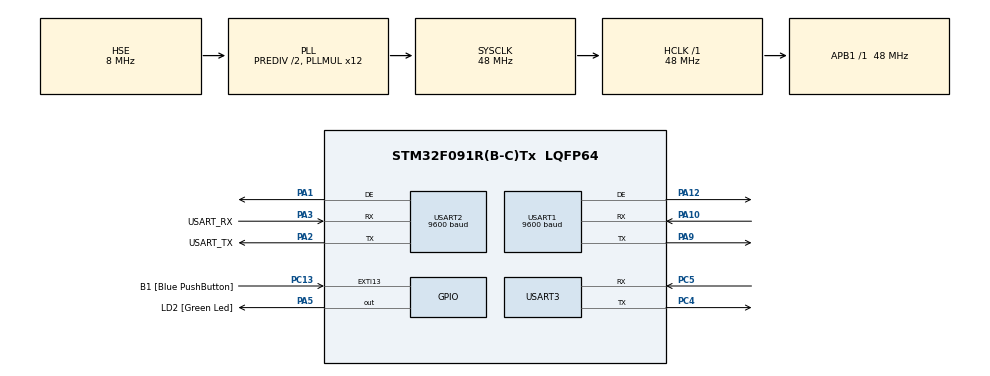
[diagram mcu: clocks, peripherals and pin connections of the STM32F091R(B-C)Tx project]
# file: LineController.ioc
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Dma.Request0=USART2_TX
Dma.Request1=USART2_RX
Dma.Request2=USART1_RX
Dma.Request3=USART1_TX
Dma.Request4=USART3_TX
Dma.USART1_RX.2.Direction=DMA_PERIPH_TO_MEMORY
Dma.USART1_RX.2.Instance=DMA1_Channel1
Dma.USART1_RX.2.MemDataAlignment=DMA_MDATAALIGN_BYTE
Dma.USART1_RX.2.MemInc=DMA_MINC_ENABLE
Dma.USART1_RX.2.Mode=DMA_NORMAL
Dma.USART1_RX.2.PeriphDataAlignment=DMA_PDATAALIGN_BYTE
Dma.USART1_RX.2.PeriphInc=DMA_PINC_DISABLE
Dma.USART1_RX.2.Priority=DMA_PRIORITY_LOW
Dma.USART1_TX.3.Direction=DMA_MEMORY_TO_PERIPH
Dma.USART1_TX.3.Instance=DMA1_Channel2
Dma.USART1_TX.3.MemDataAlignment=DMA_MDATAALIGN_BYTE
Dma.USART1_TX.3.MemInc=DMA_MINC_ENABLE
Dma.USART1_TX.3.Mode=DMA_NORMAL
Dma.USART1_TX.3.PeriphDataAlignment=DMA_PDATAALIGN_BYTE
Dma.USART1_TX.3.PeriphInc=DMA_PINC_DISABLE
Dma.USART1_TX.3.Priority=DMA_PRIORITY_LOW
Dma.USART2_RX.1.Direction=DMA_PERIPH_TO_MEMORY
Dma.USART2_RX.1.Instance=DMA1_Channel3
Dma.USART2_RX.1.MemDataAlignment=DMA_MDATAALIGN_BYTE
Dma.USART2_RX.1.MemInc=DMA_MINC_ENABLE
Dma.USART2_RX.1.Mode=DMA_NORMAL
Dma.USART2_RX.1.PeriphDataAlignment=DMA_PDATAALIGN_BYTE
Dma.USART2_RX.1.PeriphInc=DMA_PINC_DISABLE
Dma.USART2_RX.1.Priority=DMA_PRIORITY_LOW
Dma.USART2_TX.0.Direction=DMA_MEMORY_TO_PERIPH
Dma.USART2_TX.0.Instance=DMA1_Channel4
Dma.USART2_TX.0.MemDataAlignment=DMA_MDATAALIGN_BYTE
Dma.USART2_TX.0.MemInc=DMA_MINC_ENABLE
Dma.USART2_TX.0.Mode=DMA_NORMAL
Dma.USART2_TX.0.PeriphDataAlignment=DMA_PDATAALIGN_BYTE
Dma.USART2_TX.0.PeriphInc=DMA_PINC_DISABLE
Dma.USART2_TX.0.Priority=DMA_PRIORITY_LOW
Dma.USART3_TX.4.Direction=DMA_MEMORY_TO_PERIPH
Dma.USART3_TX.4.Instance=DMA1_Channel7
Dma.USART3_TX.4.MemDataAlignment=DMA_MDATAALIGN_BYTE
Dma.USART3_TX.4.MemInc=DMA_MINC_ENABLE
Dma.USART3_TX.4.Mode=DMA_NORMAL
Dma.USART3_TX.4.PeriphDataAlignment=DMA_PDATAALIGN_BYTE
Dma.USART3_TX.4.PeriphInc=DMA_PINC_DISABLE
Dma.USART3_TX.4.Priority=DMA_PRIORITY_LOW
FREERTOS.INCLUDE_vTaskDelayUntil=1
FREERTOS.Tasks01=defaultTask,0,128,StartDefaultTask,Default
FREERTOS.configTOTAL_HEAP_SIZE=10340
Mcu.Family=STM32F0
Mcu.Name=STM32F091R(B-C)Tx
Mcu.Package=LQFP64
NVIC.DMA1_Ch1_IRQn=true\:3\:0\:false\:false\:true\:true
NVIC.DMA1_Ch2_3_DMA2_Ch1_2_IRQn=true\:3\:0\:false\:false\:true\:true
NVIC.DMA1_Ch4_7_DMA2_Ch3_5_IRQn=true\:3\:0\:false\:false\:true\:true
NVIC.USART1_IRQn=true\:3\:0\:false\:false\:true\:true
NVIC.USART2_IRQn=true\:3\:0\:false\:false\:true\:true
NVIC.USART3_8_IRQn=true\:3\:0\:false\:false\:true\:true
PA1.Mode=Hardware Flow Control (RS485)
PA1.Signal=USART2_DE
PA10.Mode=Asynchronous
PA10.Signal=USART1_RX
PA12.GPIO_PuPd=GPIO_PULLUP
PA12.Mode=Hardware Flow Control (RS485)
PA12.Signal=USART1_DE
PA13.GPIO_Label=TMS
PA13.Mode=Serial_Wire
PA13.Signal=SYS_SWDIO
PA14.GPIO_Label=TCK
PA14.Mode=Serial_Wire
PA14.Signal=SYS_SWCLK
PA2.GPIO_Label=USART_TX
PA2.GPIO_Mode=GPIO_MODE_AF_PP
PA2.GPIO_PuPd=GPIO_NOPULL
PA2.GPIO_Speed=GPIO_SPEED_FREQ_LOW
PA2.Mode=Asynchronous
PA2.Signal=USART2_TX
PA3.GPIO_Label=USART_RX
PA3.GPIO_Mode=GPIO_MODE_AF_PP
PA3.GPIO_PuPd=GPIO_NOPULL
PA3.GPIO_Speed=GPIO_SPEED_FREQ_LOW
PA3.Mode=Asynchronous
PA3.Signal=USART2_RX
PA5.GPIO_Label=LD2 [Green Led]
PA5.GPIO_Mode=GPIO_MODE_OUTPUT_PP
PA5.GPIO_PuPd=GPIO_NOPULL
PA5.GPIO_Speed=GPIO_SPEED_FREQ_LOW
PA5.Signal=GPIO_Output
PA9.Mode=Asynchronous
PA9.Signal=USART1_TX
PC13.GPIO_Label=B1 [Blue PushButton]
PC13.GPIO_ModeDefaultEXTI=GPIO_MODE_EVT_RISING
PC13.Signal=GPXTI13
PC14OSC32_IN.Signal=RCC_OSC32_IN
PC15OSC32_OUT.Signal=RCC_OSC32_OUT
PC4.Mode=Asynchronous
PC4.Signal=USART3_TX
PC5.Mode=Asynchronous
PC5.Signal=USART3_RX
PF0-OSC_IN.Mode=HSE-External-Oscillator
PF0-OSC_IN.Signal=RCC_OSC_IN
PF1-OSC_OUT.Mode=HSE-External-Oscillator
PF1-OSC_OUT.Signal=RCC_OSC_OUT
ProjectManager.HeapSize=0x200
ProjectManager.StackSize=0x400
ProjectManager.TargetToolchain=SW4STM32
RCC.AHBFreq_Value=48000000
RCC.APB1Freq_Value=48000000
RCC.APB1TimFreq_Value=48000000
RCC.FLatency-AdvancedSettings=FLASH_LATENCY_1
RCC.HCLKFreq_Value=48000000
RCC.HSIState=RCC_HSI_ON
RCC.PLLDivider=RCC_PREDIV_DIV2
RCC.PLLMUL=RCC_PLL_MUL12
RCC.PLLSourceVirtual=RCC_PLLSOURCE_HSE
RCC.PREFETCH_ENABLE-AdvancedSettings=1
RCC.SYSCLKFreq_VALUE=48000000
RCC.SYSCLKSource=RCC_SYSCLKSOURCE_PLLCLK
USART1.BaudRate=9600
USART1.Parity=PARITY_EVEN
USART1.UART_DEAssertionTime=16
USART1.UART_DEDeassertionTime=16
USART1.WordLength=UART_WORDLENGTH_9B
USART2.BaudRate=9600
USART2.Parity=PARITY_EVEN
USART2.UART_DEAssertionTime=16
USART2.UART_DEDeassertionTime=16
USART2.WordLength=UART_WORDLENGTH_9B
USART3.WordLength=UART_WORDLENGTH_8B
VP_FREERTOS_VS_ENABLE.Mode=Enabled
VP_RTC_VS_RTC_Activate.Mode=RTC_Enabled
board=NUCLEO-F091RC

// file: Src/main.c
/**
  ******************************************************************************
  * File Name          : main.c
  * Description        : Main program body
  ******************************************************************************
  *
  * Copyright (c) 2017 STMicroelectronics International N.V.
  * All rights reserved.
  *
  * Redistribution and use in source and binary forms, with or without
  * modification, are permitted, provided that the following conditions are met:
  *
  * 1. Redistribution of source code must retain the above copyright notice,
  *    this list of conditions and the following disclaimer.
  * 2. Redistributions in binary form must reproduce the above copyright notice,
  *    this list of conditions and the following disclaimer in the documentation
  *    and/or other materials provided with the distribution.
  * 3. Neither the name of STMicroelectronics nor the names of other
  *    contributors to this software may be used to endorse or promote products
  *    derived from this software without specific written permission.
  * 4. This software, including modifications and/or derivative works of this
  *    software, must execute solely and exclusively on microcontroller or
  *    microprocessor devices manufactured by or for STMicroelectronics.
  * 5. Redistribution and use of this software other than as permitted under
  *    this license is void and will automatically terminate your rights under
  *    this license.
  *
  * THIS SOFTWARE IS PROVIDED BY STMICROELECTRONICS AND CONTRIBUTORS "AS IS"
  * AND ANY EXPRESS, IMPLIED OR STATUTORY WARRANTIES, INCLUDING, BUT NOT
  * LIMITED TO, THE IMPLIED WARRANTIES OF MERCHANTABILITY, FITNESS FOR A
  * PARTICULAR PURPOSE AND NON-INFRINGEMENT OF THIRD PARTY INTELLECTUAL PROPERTY
  * RIGHTS ARE DISCLAIMED TO THE FULLEST EXTENT PERMITTED BY LAW. IN NO EVENT
  * SHALL STMICROELECTRONICS OR CONTRIBUTORS BE LIABLE FOR ANY DIRECT, INDIRECT,
  * INCIDENTAL, SPECIAL, EXEMPLARY, OR CONSEQUENTIAL DAMAGES (INCLUDING, BUT NOT
  * LIMITED TO, PROCUREMENT OF SUBSTITUTE GOODS OR SERVICES; LOSS OF USE, DATA,
  * OR PROFITS; OR BUSINESS INTERRUPTION) HOWEVER CAUSED AND ON ANY THEORY OF
  * LIABILITY, WHETHER IN CONTRACT, STRICT LIABILITY, OR TORT (INCLUDING
  * NEGLIGENCE OR OTHERWISE) ARISING IN ANY WAY OUT OF THE USE OF THIS SOFTWARE,
  * EVEN IF ADVISED OF THE POSSIBILITY OF SUCH DAMAGE.
  *
  ******************************************************************************
  */
#include "main.h"
#include "stm32f0xx_hal.h"
#include "cmsis_os.h"
#include "dma.h"
#include "rtc.h"
#include "usart.h"
#include "gpio.h"

/* USER CODE BEGIN Includes */

#include "u_lc.h"
#include "u_logger.h"
#include "u_changelog.h"

/* USER CODE END Includes */

/* USER CODE BEGIN PV */
/* Private variables ---------------------------------------------------------*/

/* USER CODE END PV */

void SystemClock_Config(void);
void Error_Handler(void);
void MX_FREERTOS_Init(void);

/* USER CODE BEGIN PFP */
/* Private function prototypes -----------------------------------------------*/

/* USER CODE END PFP */

int main(void)
{

  /* MCU Configuration----------------------------------------------------------*/

  /* Reset of all peripherals, Initializes the Flash interface and the Systick. */
  HAL_Init();

  /* Configure the system clock */
  SystemClock_Config();

  /* Initialize all configured peripherals */
  MX_GPIO_Init();
  MX_DMA_Init();
  MX_USART1_UART_Init();
  MX_USART2_UART_Init();
  MX_RTC_Init();
  MX_USART3_UART_Init();

  /* USER CODE BEGIN 2 */

  // TODO add new uart for the logger
  Calendar_Init(&hrtc);
  log_Init(&huart3, CONFIG_LOG_UART, e_logLevel_Debug, &firmwareNr);

  // before calling the init script, user has to fill in
  // some application specific information

  // MASTER
  // response timeout in ms
  lc[0].mbm.toutQ.respTimeout = 2000;

  // set number of frames in the master receiver queue
  lc[0].mbm.mbg.rxQ.framesBufLen = 2;

  // set uart handle
  lc[0].mbm.mbg.handle = &huart1;

  mbm_Init(&lc[0].mbm, LC_NO_OF_MODULES);

  // SLAVE
  // addr
  lc[0].mbs.slaveAddr = 3;

  // set number of frames in the slave receiver queue
  lc[0].mbs.mbg.rxQ.framesBufLen = 2;

  // set uart handle
  lc[0].mbs.mbg.handle = &huart2;

  mbs_Init(&lc[0].mbs, LC_NO_OF_MODULES);

  lc_Init();

  /* USER CODE END 2 */

  /* Call init function for freertos objects (in freertos.c) */
  MX_FREERTOS_Init();

  /* Start scheduler */
  osKernelStart();

  /* We should never get here as control is now taken by the scheduler */

  /* Infinite loop */
  while (1)
  {

  }

}

/** System Clock Configuration
*/
void SystemClock_Config(void)
{

  RCC_OscInitTypeDef RCC_OscInitStruct;
  RCC_ClkInitTypeDef RCC_ClkInitStruct;
  RCC_PeriphCLKInitTypeDef PeriphClkInit;

    /**Initializes the CPU, AHB and APB busses clocks
    */
  RCC_OscInitStruct.OscillatorType = RCC_OSCILLATORTYPE_LSI|RCC_OSCILLATORTYPE_HSE;
  RCC_OscInitStruct.HSEState = RCC_HSE_ON;
  RCC_OscInitStruct.HSIState = RCC_HSI_ON;
  RCC_OscInitStruct.LSIState = RCC_LSI_ON;
  RCC_OscInitStruct.PLL.PLLState = RCC_PLL_ON;
  RCC_OscInitStruct.PLL.PLLSource = RCC_PLLSOURCE_HSE;
  RCC_OscInitStruct.PLL.PLLMUL = RCC_PLL_MUL12;
  RCC_OscInitStruct.PLL.PREDIV = RCC_PREDIV_DIV2;
  if (HAL_RCC_OscConfig(&RCC_OscInitStruct) != HAL_OK)
  {
    Error_Handler();
  }

    /**Initializes the CPU, AHB and APB busses clocks
    */
  RCC_ClkInitStruct.ClockType = RCC_CLOCKTYPE_HCLK|RCC_CLOCKTYPE_SYSCLK
                              |RCC_CLOCKTYPE_PCLK1;
  RCC_ClkInitStruct.SYSCLKSource = RCC_SYSCLKSOURCE_PLLCLK;
  RCC_ClkInitStruct.AHBCLKDivider = RCC_SYSCLK_DIV1;
  RCC_ClkInitStruct.APB1CLKDivider = RCC_HCLK_DIV1;

  if (HAL_RCC_ClockConfig(&RCC_ClkInitStruct, FLASH_LATENCY_1) != HAL_OK)
  {
    Error_Handler();
  }

  PeriphClkInit.PeriphClockSelection = RCC_PERIPHCLK_USART3|RCC_PERIPHCLK_USART1
                              |RCC_PERIPHCLK_USART2|RCC_PERIPHCLK_RTC;
  PeriphClkInit.Usart1ClockSelection = RCC_USART1CLKSOURCE_PCLK1;
  PeriphClkInit.Usart2ClockSelection = RCC_USART2CLKSOURCE_PCLK1;
  PeriphClkInit.Usart3ClockSelection = RCC_USART3CLKSOURCE_PCLK1;
  PeriphClkInit.RTCClockSelection = RCC_RTCCLKSOURCE_LSI;
  if (HAL_RCCEx_PeriphCLKConfig(&PeriphClkInit) != HAL_OK)
  {
    Error_Handler();
  }

    /**Configure the Systick interrupt time
    */
  HAL_SYSTICK_Config(HAL_RCC_GetHCLKFreq()/1000);

    /**Configure the Systick
    */
  HAL_SYSTICK_CLKSourceConfig(SYSTICK_CLKSOURCE_HCLK);

  /* SysTick_IRQn interrupt configuration */
  HAL_NVIC_SetPriority(SysTick_IRQn, 3, 0);
}

void Error_Handler(void)
{
  while(1)
  {
  }
}

/************************ (C) COPYRIGHT STMicroelectronics *****END OF FILE****/

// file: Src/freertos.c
/**
  ******************************************************************************
  * File Name          : freertos.c
  * Description        : Code for freertos applications
  ******************************************************************************
  *
  * Copyright (c) 2017 STMicroelectronics International N.V.
  * All rights reserved.
  *
  * Redistribution and use in source and binary forms, with or without
  * modification, are permitted, provided that the following conditions are met:
  *
  * 1. Redistribution of source code must retain the above copyright notice,
  *    this list of conditions and the following disclaimer.
  * 2. Redistributions in binary form must reproduce the above copyright notice,
  *    this list of conditions and the following disclaimer in the documentation
  *    and/or other materials provided with the distribution.
  * 3. Neither the name of STMicroelectronics nor the names of other
  *    contributors to this software may be used to endorse or promote products
  *    derived from this software without specific written permission.
  * 4. This software, including modifications and/or derivative works of this
  *    software, must execute solely and exclusively on microcontroller or
  *    microprocessor devices manufactured by or for STMicroelectronics.
  * 5. Redistribution and use of this software other than as permitted under
  *    this license is void and will automatically terminate your rights under
  *    this license.
  *
  * THIS SOFTWARE IS PROVIDED BY STMICROELECTRONICS AND CONTRIBUTORS "AS IS"
  * AND ANY EXPRESS, IMPLIED OR STATUTORY WARRANTIES, INCLUDING, BUT NOT
  * LIMITED TO, THE IMPLIED WARRANTIES OF MERCHANTABILITY, FITNESS FOR A
  * PARTICULAR PURPOSE AND NON-INFRINGEMENT OF THIRD PARTY INTELLECTUAL PROPERTY
  * RIGHTS ARE DISCLAIMED TO THE FULLEST EXTENT PERMITTED BY LAW. IN NO EVENT
  * SHALL STMICROELECTRONICS OR CONTRIBUTORS BE LIABLE FOR ANY DIRECT, INDIRECT,
  * INCIDENTAL, SPECIAL, EXEMPLARY, OR CONSEQUENTIAL DAMAGES (INCLUDING, BUT NOT
  * LIMITED TO, PROCUREMENT OF SUBSTITUTE GOODS OR SERVICES; LOSS OF USE, DATA,
  * OR PROFITS; OR BUSINESS INTERRUPTION) HOWEVER CAUSED AND ON ANY THEORY OF
  * LIABILITY, WHETHER IN CONTRACT, STRICT LIABILITY, OR TORT (INCLUDING
  * NEGLIGENCE OR OTHERWISE) ARISING IN ANY WAY OUT OF THE USE OF THIS SOFTWARE,
  * EVEN IF ADVISED OF THE POSSIBILITY OF SUCH DAMAGE.
  *
  ******************************************************************************
  */

#include "FreeRTOS.h"
#include "task.h"
#include "cmsis_os.h"

osThreadId defaultTaskHandle;

void StartDefaultTask(void const * argument);

void MX_FREERTOS_Init(void); /* (MISRA C 2004 rule 8.1) */

/* Hook prototypes */

/* Init FreeRTOS */

void MX_FREERTOS_Init(void) {

  /* Create the thread(s) */
  /* definition and creation of defaultTask */
  osThreadDef(defaultTask, StartDefaultTask, osPriorityNormal, 0, 128);
  defaultTaskHandle = osThreadCreate(osThread(defaultTask), NULL);

}

/* StartDefaultTask function */
void StartDefaultTask(void const * argument)
{

  /* USER CODE BEGIN StartDefaultTask */
  /* Infinite loop */
  for(;;)
  {
    //osDelay(1);
	  osThreadTerminate(0);
  }
  /* USER CODE END StartDefaultTask */
}

/************************ (C) COPYRIGHT STMicroelectronics *****END OF FILE****/
